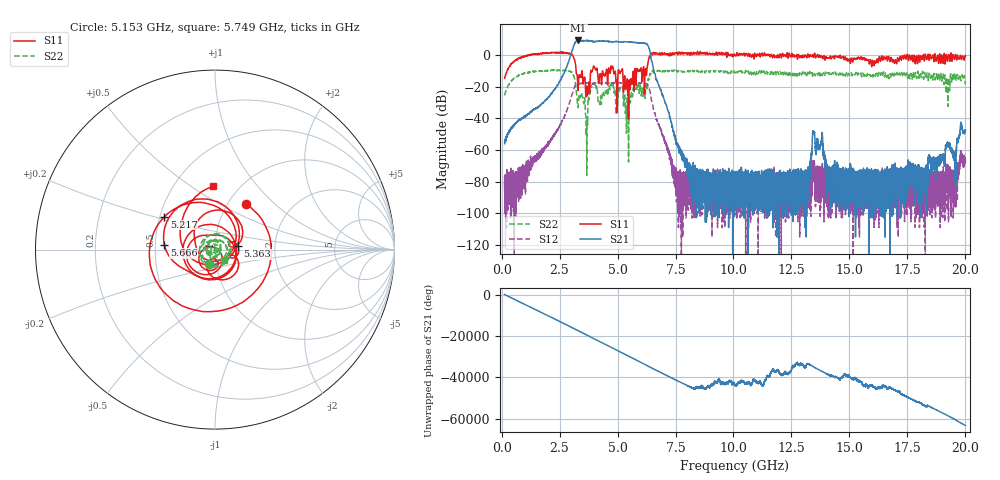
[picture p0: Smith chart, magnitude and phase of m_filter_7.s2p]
!Created with skrf (http://scikit-rf.org).
# GHz S RI R 50.0
!freq ReS11 ImS11 ReS21 ImS21 ReS12 ImS12 ReS22 ImS22
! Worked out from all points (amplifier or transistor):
!   20013 points, 130 MHz to 20 GHz, reference 50 ohm
!   highest |S21| = 9.3 dB at 3.305 GHz (marker M1)
!   |S21| within 3 dB of that: 3.125 GHz to 6.3 GHz (3.175 GHz wide, 67.4 % of centre)
!   unconditionally stable (mu >= 1): start of sweep to 1.121 GHz; 3.099 GHz to 6.366 GHz; 13.71 GHz to 17.38 GHz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
!   at 3.465 GHz: K = 1.45, MAG = 9.5 dB, |S12| = -18.0 dB
!   at 10.14 GHz: K = -24552532.09, MSG = 3.7 dB, |S12| = -85.4 dB
!   at 20 GHz: K = 21883.57, MAG = -36.2 dB, |S12| = -68.0 dB
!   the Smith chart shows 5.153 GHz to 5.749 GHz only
!   S11 on the Smith chart (normalised r, x): 5.153 GHz: 1.20, +0.68; 5.217 GHz: 0.53, +0.22; 5.363 GHz: 1.29, +0.06; 5.666 GHz: 0.56, +0.03; 5.749 GHz: 0.76, +0.61
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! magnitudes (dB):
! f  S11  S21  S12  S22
! 130 MHz  -14.7  -56.0  -84.3  -25.5
! 2.766 GHz  1.1  -8.8  -36.6  -9.6
! 3.305 GHz  -21.4  9.3  -17.9  -32.1
! 3.442 GHz  -12.9  9.1  -17.9  -23.8
! 3.626 GHz  -25.4  9.2  -17.6  -37.7
! 5.153 GHz  -10.2  8.3  -17.5  -21.1
! 5.217 GHz  -9.5  8.3  -17.5  -20.1
! 5.363 GHz  -17.8  8.5  -17.3  -33.9
! 5.666 GHz  -11.0  8.1  -17.7  -22.6
! 5.749 GHz  -9.1  7.9  -17.7  -22.3
! 6.293 GHz  -6.3  6.6  -18.7  -18.4
! 6.754 GHz  0.5  -18.3  -43.1  -9.6
! 7.531 GHz  1.2  -55.6  -80.2  -9.6
! 8.24 GHz  1.2  -80.4  -92.1  -9.6
! 10.06 GHz  -0.3  -79.0  -74.8  -11.3
! 13.13 GHz  -0.7  -75.1  -83.8  -13.3
! 13.38 GHz  -0.6  -60.2  -76.1  -11.1
! 13.78 GHz  -0.8  -55.4  -78.0  -11.2
! 14.2 GHz  -2.1  -73.3  -83.4  -11.6
! 16.69 GHz  -1.0  -84.3  -83.6  -13.4
! 18.27 GHz  0.7  -80.5  -178.4  -12.4
! 20 GHz  -0.3  -47.4  -68.0  -17.8
